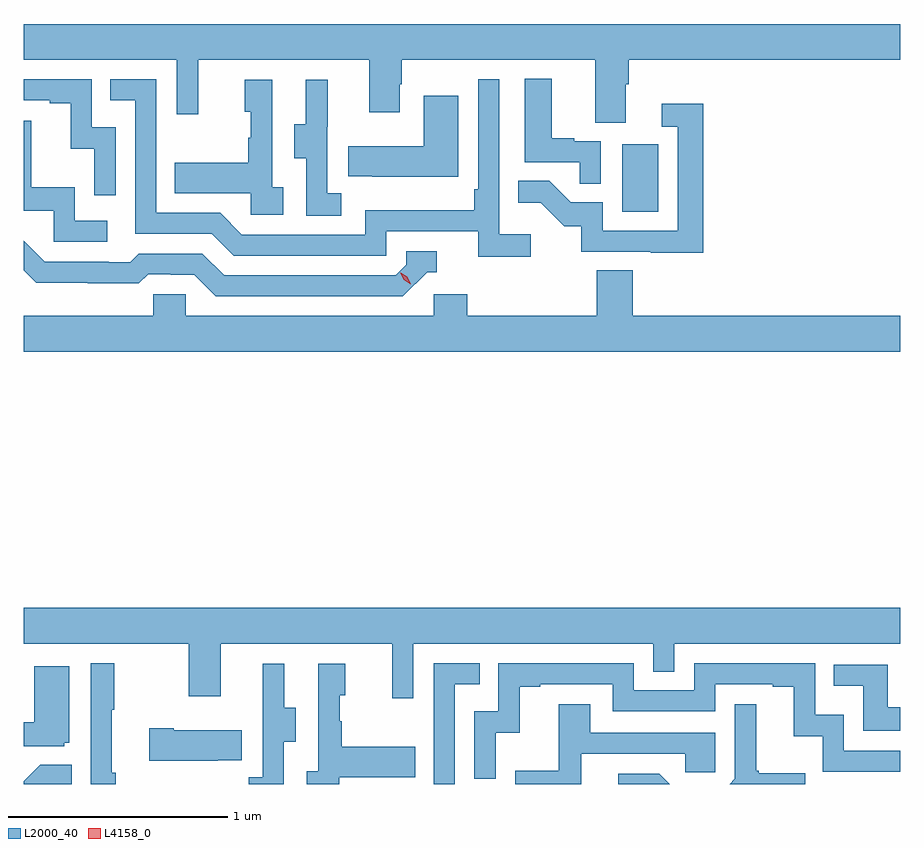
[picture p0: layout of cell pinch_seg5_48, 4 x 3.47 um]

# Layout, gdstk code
import gdstk
lib = gdstk.Library(unit=1e-6, precision=1e-09)
def R(c, l, rs):  # rectangles x0, y0, x1, y1
    for r in rs: c.add(gdstk.rectangle(r[:2], r[2:], *l))
def P(c, l, *ps):  # polygons
    for p in ps: c.add(gdstk.Polygon(p, *l))
L2000_40 = (2000, 40)
L4158_0 = (4158, 0)

pinch_seg5_48 = lib.new_cell('pinch_seg5_48')
R(pinch_seg5_48, L2000_40, [(1093.988,898.692,1094.152,898.999)])
P(pinch_seg5_48, L2000_40, [(1094.005,899.272),(1094.018,899.272),(1094.018,899.384),(1095.257,899.384),(1095.257,899.548),(1091.257,899.548),(1091.257,899.384),(1091.955,899.384),(1091.955,899.136),(1092.053,899.136),(1092.053,899.384),(1092.833,899.384),(1092.833,899.145),(1092.973,899.145),(1092.973,899.273),(1092.981,899.273),(1092.981,899.384),(1093.865,899.384),(1093.865,899.098),(1094.005,899.098)],
  [(1093.89,899.013),(1093.769,899.013),(1093.769,899.026),(1093.666,899.026),(1093.666,899.299),(1093.544,899.299),(1093.544,898.917),(1093.795,898.917),(1093.795,898.819),(1093.89,898.819)],
  [(1093.57,898.588),(1093.428,898.588),(1093.428,899.296),(1093.332,899.296),(1093.332,898.795),(1093.312,898.795),(1093.312,898.699),(1092.816,898.699),(1092.816,898.587),(1092.252,898.587),(1092.153,898.686),(1091.862,898.686),(1091.862,899.295),(1091.653,899.295),(1091.653,899.199),(1091.766,899.199),(1091.766,898.59),(1092.116,898.59),(1092.215,898.491),(1092.912,898.491),(1092.912,898.602),(1093.331,898.602),(1093.331,898.486),(1093.57,898.486)],
  [(1091.676,899.076),(1091.568,899.076),(1091.568,899.295),(1091.257,899.295),(1091.257,899.199),(1091.375,899.199),(1091.375,899.187),(1091.471,899.187),(1091.471,898.979),(1091.58,898.979),(1091.58,898.767),(1091.676,898.767)],
  [(1092.706,898.775),(1092.642,898.775),(1092.642,899.079),(1092.644,899.079),(1092.644,899.293),(1092.545,899.293),(1092.545,899.091),(1092.491,899.091),(1092.491,898.936),(1092.546,898.936),(1092.546,898.672),(1092.706,898.672)],
  [(1092.442,898.802),(1092.39,898.802),(1092.39,899.293),(1092.266,899.293),(1092.266,899.148),(1092.292,899.148),(1092.292,899.03),(1092.282,899.03),(1092.282,898.915),(1091.947,898.915),(1091.947,898.775),(1092.294,898.775),(1092.294,898.677),(1092.442,898.677)],
  [(1093.24,899.221),(1093.082,899.221),(1093.082,898.99),(1092.739,898.99),(1092.739,898.853),(1092.847,898.853),(1092.847,898.85),(1093.24,898.85)],
  [(1094.357,899.185),(1094.169,899.185),(1094.169,899.079),(1094.241,899.079),(1094.241,898.605),(1093.899,898.605),(1093.899,898.734),(1093.754,898.734),(1093.656,898.832),(1093.513,898.832),(1093.513,898.733),(1093.617,898.733),(1093.724,898.626),(1093.801,898.626),(1093.801,898.509),(1094.119,898.509),(1094.119,898.504),(1094.357,898.504)],
  [(1091.638,898.65),(1091.49,898.65),(1091.49,898.804),(1091.291,898.804),(1091.291,899.107),(1091.257,899.107),(1091.257,898.695),(1091.394,898.695),(1091.394,898.554),(1091.638,898.554)],
  [(1093.098,898.416),(1093.141,898.416),(1093.141,898.512),(1093.002,898.512),(1093.002,898.449),(1092.954,898.401),(1092.171,898.401),(1092.072,898.5),(1091.783,898.5),(1091.744,898.461),(1091.645,898.461),(1091.645,898.464),(1091.352,898.464),(1091.257,898.559),(1091.257,898.424),(1091.314,898.367),(1091.55,898.367),(1091.55,898.365),(1091.783,898.365),(1091.825,898.407),(1091.928,898.407),(1091.928,898.404),(1092.035,898.404),(1092.134,898.305),(1092.987,898.305)],
  [(1095.257,898.216),(1094.036,898.216),(1094.036,898.424),(1093.871,898.424),(1093.871,898.216),(1093.28,898.216),(1093.28,898.314),(1093.128,898.314),(1093.128,898.216),(1091.997,898.216),(1091.997,898.314),(1091.847,898.314),(1091.847,898.216),(1091.257,898.216),(1091.257,898.052),(1095.257,898.052)],
  [(1093.035,896.72),(1094.13,896.72),(1094.13,896.593),(1094.226,896.593),(1094.226,896.72),(1095.257,896.72),(1095.257,896.884),(1091.257,896.884),(1091.257,896.72),(1092.01,896.72),(1092.01,896.481),(1092.157,896.481),(1092.157,896.72),(1092.938,896.72),(1092.938,896.472),(1093.035,896.472)],
  [(1091.678,896.131),(1091.659,896.131),(1091.659,896.419),(1091.671,896.419),(1091.671,896.632),(1091.562,896.632),(1091.562,896.08),(1091.678,896.08)],
  [(1093.224,896.535),(1093.337,896.535),(1093.337,896.631),(1093.128,896.631),(1093.128,896.08),(1093.224,896.08)],
  [(1093.41,896.315),(1093.52,896.315),(1093.52,896.523),(1093.615,896.523),(1093.615,896.535),(1093.944,896.535),(1093.944,896.412),(1094.412,896.412),(1094.412,896.535),(1094.675,896.535),(1094.675,896.523),(1094.771,896.523),(1094.771,896.297),(1094.904,896.297),(1094.904,896.136),(1095.257,896.136),(1095.257,896.232),(1095,896.232),(1095,896.395),(1094.868,896.395),(1094.868,896.631),(1094.316,896.631),(1094.316,896.508),(1094.04,896.508),(1094.04,896.631),(1093.422,896.631),(1093.422,896.412),(1093.314,896.412),(1093.314,896.103),(1093.41,896.103)],
  [(1092.696,896.111),(1093.043,896.111),(1093.043,896.251),(1092.709,896.251),(1092.709,896.366),(1092.699,896.366),(1092.699,896.484),(1092.724,896.484),(1092.724,896.629),(1092.6,896.629),(1092.6,896.138),(1092.549,896.138),(1092.549,896.08),(1092.696,896.08)],
  [(1092.444,896.272),(1092.499,896.272),(1092.499,896.427),(1092.445,896.427),(1092.445,896.629),(1092.347,896.629),(1092.347,896.415),(1092.348,896.415),(1092.348,896.111),(1092.285,896.111),(1092.285,896.08),(1092.444,896.08)],
  [(1095.257,896.431),(1095.199,896.431),(1095.199,896.625),(1094.953,896.625),(1094.953,896.528),(1095.088,896.528),(1095.088,896.322),(1095.257,896.322)],
  [(1091.442,896.268),(1091.464,896.268),(1091.464,896.617),(1091.306,896.617),(1091.306,896.362),(1091.257,896.362),(1091.257,896.253),(1091.442,896.253)],
  [(1093.801,896.217),(1094.275,896.217),(1094.275,896.133),(1094.412,896.133),(1094.412,896.313),(1093.843,896.313),(1093.843,896.443),(1093.699,896.443),(1093.699,896.14),(1093.5,896.14),(1093.5,896.08),(1093.801,896.08)],
  [(1094.824,896.128),(1094.611,896.128),(1094.611,896.14),(1094.599,896.14),(1094.599,896.443),(1094.502,896.443),(1094.502,896.103),(1094.479,896.08),(1094.824,896.08)],
  [(1092.143,896.189),(1092.251,896.189),(1092.251,896.326),(1091.941,896.326),(1091.941,896.334),(1091.829,896.334),(1091.829,896.186),(1092.143,896.186)],
  [(1091.477,896.168),(1091.333,896.168),(1091.257,896.092),(1091.257,896.08),(1091.477,896.08)],
  [(1094.158,896.127),(1093.971,896.127),(1093.971,896.08),(1094.205,896.08)])
P(pinch_seg5_48, L4158_0, [(1093.022,898.361),(1092.992,898.381),(1092.976,898.413),(1092.976,898.414),(1092.977,898.414),(1093.007,898.394),(1093.023,898.361),(1093.023,898.361)])

lib.write_gds('pinch_seg5_48.gds')
